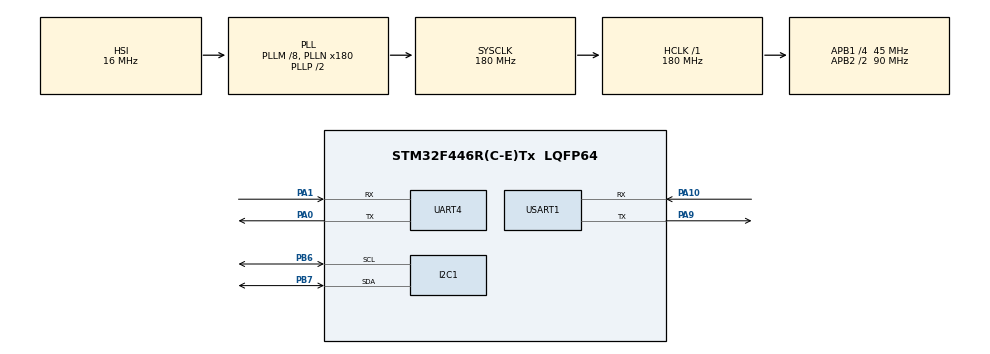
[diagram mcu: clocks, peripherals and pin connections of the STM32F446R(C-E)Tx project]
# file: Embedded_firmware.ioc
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Mcu.Family=STM32F4
Mcu.Name=STM32F446R(C-E)Tx
Mcu.Package=LQFP64
NVIC.PriorityGroup=NVIC_PRIORITYGROUP_4
PA0-WKUP.Mode=Asynchronous
PA0-WKUP.Signal=UART4_TX
PA1.Mode=Asynchronous
PA1.Signal=UART4_RX
PA10.Mode=Asynchronous
PA10.Signal=USART1_RX
PA9.Mode=Asynchronous
PA9.Signal=USART1_TX
PB6.Mode=I2C
PB6.Signal=I2C1_SCL
PB7.Mode=I2C
PB7.Signal=I2C1_SDA
ProjectManager.HeapSize=0x200
ProjectManager.StackSize=0x400
ProjectManager.TargetToolchain=STM32CubeIDE
RCC.AHBFreq_Value=180000000
RCC.APB1CLKDivider=RCC_HCLK_DIV4
RCC.APB1Freq_Value=45000000
RCC.APB1TimFreq_Value=90000000
RCC.APB2CLKDivider=RCC_HCLK_DIV2
RCC.APB2Freq_Value=90000000
RCC.APB2TimFreq_Value=180000000
RCC.CortexFreq_Value=180000000
RCC.HCLKFreq_Value=180000000
RCC.PLLM=8
RCC.PLLN=180
RCC.SYSCLKFreq_VALUE=180000000
RCC.SYSCLKSource=RCC_SYSCLKSOURCE_PLLCLK
RCC.USBFreq_Value=180000000
RCC.VCOOutputFreq_Value=360000000
UART4.VirtualMode=Asynchronous
USART1.VirtualMode=VM_ASYNC
board=custom

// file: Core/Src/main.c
/* USER CODE BEGIN Header */
/**
  ******************************************************************************
  * @file           : main.c
  * @brief          : Main program body
  ******************************************************************************
  * @attention
  *
  * Copyright (c) 2025 STMicroelectronics.
  * All rights reserved.
  *
  * This software is licensed under terms that can be found in the LICENSE file
  * in the root directory of this software component.
  * If no LICENSE file comes with this software, it is provided AS-IS.
  *
  ******************************************************************************
  */
/* USER CODE END Header */
#include "main.h"

/* USER CODE BEGIN Includes */
#include "ESP8266_STM32.h"
#include "BME280_STM32.h"
/* USER CODE END Includes */

I2C_HandleTypeDef hi2c1;

UART_HandleTypeDef huart4;
UART_HandleTypeDef huart1;

void SystemClock_Config(void);
static void MX_GPIO_Init(void);
static void MX_UART4_Init(void);
static void MX_USART1_UART_Init(void);
static void MX_I2C1_Init(void);

/* USER CODE BEGIN 0 */
int _write(int file, char *ptr, int len) {
	HAL_UART_Transmit(&huart1, (uint8_t *)ptr, len, 100);
	return len;
}

char ip_buf[16];

#define API_KEY	"0IABUZRYXNZW8Q94"
float temp, press, hum;

/* USER CODE END 0 */

int main(void)
{

  /* MCU Configuration--------------------------------------------------------*/

  /* Reset of all peripherals, Initializes the Flash interface and the Systick. */
  HAL_Init();

  /* Configure the system clock */
  SystemClock_Config();

  /* Initialize all configured peripherals */
  MX_GPIO_Init();
  MX_UART4_Init();
  MX_USART1_UART_Init();
  MX_I2C1_Init();
  /* USER CODE BEGIN 2 */

  if (ESP_Init() != ESP8266_OK){
	  USER_LOG("Failed to initialize... Check Debug logs");
	  Error_Handler();
  }

  if (ESP_ConnectWiFi("SSID5G_EXT", "Nale@62081", ip_buf, sizeof(ip_buf)) != ESP8266_OK){
	  USER_LOG("Failed to connect to wifi... Check Debug logs");
	  Error_Handler();
  }

  if (BME280_Config(OSRS_2, OSRS_16, OSRS_1, MODE_NORMAL, T_SB_0p5, IIR_16) != 0)
    {
  	  Error_Handler();
    }

  /* USER CODE END 2 */

  /* Infinite loop */
  while (1)
  {

    /* USER CODE BEGIN 3 */
	  BME280_Measure(&temp, &press, &hum);
	  press = (float)press/1000.0;  // change press to KPa
	  if (ESP_ConnState == ESP8266_CONNECTED_IP){
		  ESP_SendToThingSpeak(API_KEY, temp, press, hum);
	  }
	  HAL_Delay(15000);
  }
  /* USER CODE END 3 */
}

void SystemClock_Config(void)
{
  RCC_OscInitTypeDef RCC_OscInitStruct = {0};
  RCC_ClkInitTypeDef RCC_ClkInitStruct = {0};

  /** Configure the main internal regulator output voltage
  */
  __HAL_RCC_PWR_CLK_ENABLE();
  __HAL_PWR_VOLTAGESCALING_CONFIG(PWR_REGULATOR_VOLTAGE_SCALE1);

  /** Initializes the RCC Oscillators according to the specified parameters
  * in the RCC_OscInitTypeDef structure.
  */
  RCC_OscInitStruct.OscillatorType = RCC_OSCILLATORTYPE_HSI;
  RCC_OscInitStruct.HSIState = RCC_HSI_ON;
  RCC_OscInitStruct.HSICalibrationValue = RCC_HSICALIBRATION_DEFAULT;
  RCC_OscInitStruct.PLL.PLLState = RCC_PLL_ON;
  RCC_OscInitStruct.PLL.PLLSource = RCC_PLLSOURCE_HSI;
  RCC_OscInitStruct.PLL.PLLM = 8;
  RCC_OscInitStruct.PLL.PLLN = 180;
  RCC_OscInitStruct.PLL.PLLP = RCC_PLLP_DIV2;
  RCC_OscInitStruct.PLL.PLLQ = 2;
  RCC_OscInitStruct.PLL.PLLR = 2;
  if (HAL_RCC_OscConfig(&RCC_OscInitStruct) != HAL_OK)
  {
    Error_Handler();
  }

  /** Activate the Over-Drive mode
  */
  if (HAL_PWREx_EnableOverDrive() != HAL_OK)
  {
    Error_Handler();
  }

  /** Initializes the CPU, AHB and APB buses clocks
  */
  RCC_ClkInitStruct.ClockType = RCC_CLOCKTYPE_HCLK|RCC_CLOCKTYPE_SYSCLK
                              |RCC_CLOCKTYPE_PCLK1|RCC_CLOCKTYPE_PCLK2;
  RCC_ClkInitStruct.SYSCLKSource = RCC_SYSCLKSOURCE_PLLCLK;
  RCC_ClkInitStruct.AHBCLKDivider = RCC_SYSCLK_DIV1;
  RCC_ClkInitStruct.APB1CLKDivider = RCC_HCLK_DIV4;
  RCC_ClkInitStruct.APB2CLKDivider = RCC_HCLK_DIV2;

  if (HAL_RCC_ClockConfig(&RCC_ClkInitStruct, FLASH_LATENCY_5) != HAL_OK)
  {
    Error_Handler();
  }
}

static void MX_I2C1_Init(void)
{

  hi2c1.Instance = I2C1;
  hi2c1.Init.ClockSpeed = 100000;
  hi2c1.Init.DutyCycle = I2C_DUTYCYCLE_2;
  hi2c1.Init.OwnAddress1 = 0;
  hi2c1.Init.AddressingMode = I2C_ADDRESSINGMODE_7BIT;
  hi2c1.Init.DualAddressMode = I2C_DUALADDRESS_DISABLE;
  hi2c1.Init.OwnAddress2 = 0;
  hi2c1.Init.GeneralCallMode = I2C_GENERALCALL_DISABLE;
  hi2c1.Init.NoStretchMode = I2C_NOSTRETCH_DISABLE;
  if (HAL_I2C_Init(&hi2c1) != HAL_OK)
  {
    Error_Handler();
  }

}

static void MX_UART4_Init(void)
{

  huart4.Instance = UART4;
  huart4.Init.BaudRate = 115200;
  huart4.Init.WordLength = UART_WORDLENGTH_8B;
  huart4.Init.StopBits = UART_STOPBITS_1;
  huart4.Init.Parity = UART_PARITY_NONE;
  huart4.Init.Mode = UART_MODE_TX_RX;
  huart4.Init.HwFlowCtl = UART_HWCONTROL_NONE;
  huart4.Init.OverSampling = UART_OVERSAMPLING_16;
  if (HAL_UART_Init(&huart4) != HAL_OK)
  {
    Error_Handler();
  }

}

static void MX_USART1_UART_Init(void)
{

  huart1.Instance = USART1;
  huart1.Init.BaudRate = 115200;
  huart1.Init.WordLength = UART_WORDLENGTH_8B;
  huart1.Init.StopBits = UART_STOPBITS_1;
  huart1.Init.Parity = UART_PARITY_NONE;
  huart1.Init.Mode = UART_MODE_TX_RX;
  huart1.Init.HwFlowCtl = UART_HWCONTROL_NONE;
  huart1.Init.OverSampling = UART_OVERSAMPLING_16;
  if (HAL_UART_Init(&huart1) != HAL_OK)
  {
    Error_Handler();
  }

}

static void MX_GPIO_Init(void)
{

  /* GPIO Ports Clock Enable */
  __HAL_RCC_GPIOA_CLK_ENABLE();
  __HAL_RCC_GPIOB_CLK_ENABLE();

}

void Error_Handler(void)
{
  __disable_irq();
  while (1)
  {
  }
}
